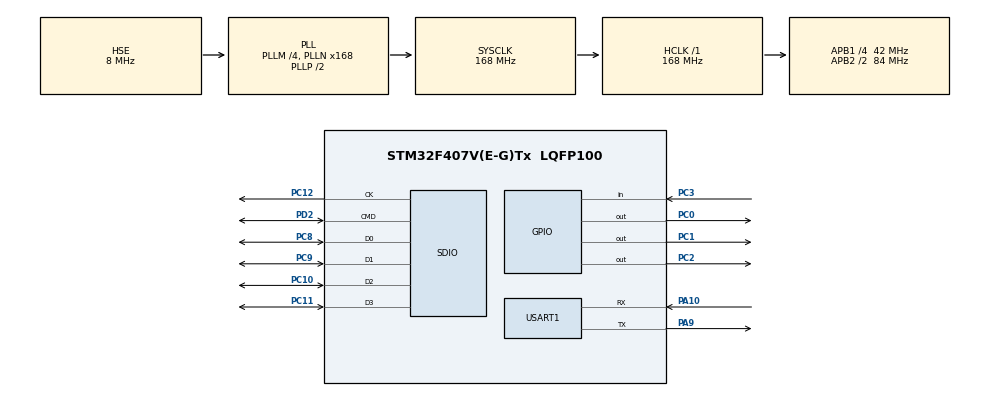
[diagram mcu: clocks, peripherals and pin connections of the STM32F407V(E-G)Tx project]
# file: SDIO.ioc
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Dma.Request0=SDIO
Dma.SDIO.0.Direction=DMA_PERIPH_TO_MEMORY
Dma.SDIO.0.FIFOMode=DMA_FIFOMODE_ENABLE
Dma.SDIO.0.FIFOThreshold=DMA_FIFO_THRESHOLD_FULL
Dma.SDIO.0.Instance=DMA2_Stream3
Dma.SDIO.0.MemBurst=DMA_MBURST_INC4
Dma.SDIO.0.MemDataAlignment=DMA_MDATAALIGN_WORD
Dma.SDIO.0.MemInc=DMA_MINC_ENABLE
Dma.SDIO.0.Mode=DMA_PFCTRL
Dma.SDIO.0.PeriphBurst=DMA_PBURST_INC4
Dma.SDIO.0.PeriphDataAlignment=DMA_PDATAALIGN_WORD
Dma.SDIO.0.PeriphInc=DMA_PINC_DISABLE
Dma.SDIO.0.Priority=DMA_PRIORITY_LOW
Mcu.Family=STM32F4
Mcu.Name=STM32F407V(E-G)Tx
Mcu.Package=LQFP100
NVIC.DMA2_Stream3_IRQn=true\:0\:0\:false\:false\:true\:false\:true\:true
NVIC.PriorityGroup=NVIC_PRIORITYGROUP_4
NVIC.SDIO_IRQn=true\:0\:0\:false\:false\:true\:true\:true\:true
PA10.Mode=Asynchronous
PA10.Signal=USART1_RX
PA9.Mode=Asynchronous
PA9.Signal=USART1_TX
PC0.GPIO_ModeDefaultOutputPP=GPIO_MODE_OUTPUT_PP
PC0.GPIO_PuPd=GPIO_PULLUP
PC0.PinState=GPIO_PIN_SET
PC0.Signal=GPIO_Output
PC1.GPIO_ModeDefaultOutputPP=GPIO_MODE_OUTPUT_PP
PC1.GPIO_PuPd=GPIO_PULLUP
PC1.PinState=GPIO_PIN_SET
PC1.Signal=GPIO_Output
PC10.Mode=SD_4_bits_Wide_bus
PC10.Signal=SDIO_D2
PC11.Mode=SD_4_bits_Wide_bus
PC11.Signal=SDIO_D3
PC12.Mode=SD_4_bits_Wide_bus
PC12.Signal=SDIO_CK
PC14-OSC32_IN.Mode=LSE-External-Oscillator
PC14-OSC32_IN.Signal=RCC_OSC32_IN
PC15-OSC32_OUT.Mode=LSE-External-Oscillator
PC15-OSC32_OUT.Signal=RCC_OSC32_OUT
PC2.GPIO_ModeDefaultOutputPP=GPIO_MODE_OUTPUT_PP
PC2.GPIO_PuPd=GPIO_PULLUP
PC2.PinState=GPIO_PIN_SET
PC2.Signal=GPIO_Output
PC3.GPIO_PuPd=GPIO_PULLUP
PC3.Signal=GPIO_Input
PC8.Mode=SD_4_bits_Wide_bus
PC8.Signal=SDIO_D0
PC9.Mode=SD_4_bits_Wide_bus
PC9.Signal=SDIO_D1
PD2.Mode=SD_4_bits_Wide_bus
PD2.Signal=SDIO_CMD
PH0-OSC_IN.Mode=HSE-External-Oscillator
PH0-OSC_IN.Signal=RCC_OSC_IN
PH1-OSC_OUT.Mode=HSE-External-Oscillator
PH1-OSC_OUT.Signal=RCC_OSC_OUT
ProjectManager.HeapSize=0x200
ProjectManager.StackSize=0x400
ProjectManager.TargetToolchain=MDK-ARM V5
RCC.48MHZClocksFreq_Value=48000000
RCC.AHBFreq_Value=168000000
RCC.APB1CLKDivider=RCC_HCLK_DIV4
RCC.APB1Freq_Value=42000000
RCC.APB1TimFreq_Value=84000000
RCC.APB2CLKDivider=RCC_HCLK_DIV2
RCC.APB2Freq_Value=84000000
RCC.APB2TimFreq_Value=168000000
RCC.CortexFreq_Value=168000000
RCC.HCLKFreq_Value=168000000
RCC.HSE_VALUE=8000000
RCC.HSI_VALUE=16000000
RCC.PLLM=4
RCC.PLLN=168
RCC.PLLQ=7
RCC.PLLSourceVirtual=RCC_PLLSOURCE_HSE
RCC.SYSCLKFreq_VALUE=168000000
RCC.SYSCLKSource=RCC_SYSCLKSOURCE_PLLCLK
RCC.VCOOutputFreq_Value=336000000
SDIO.ClockDiv=6
USART1.VirtualMode=VM_ASYNC
VP_FATFS_VS_SDIO.Mode=SDIO
board=custom

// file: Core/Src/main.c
/* USER CODE BEGIN Header */
/**
  ******************************************************************************
  * @file           : main.c
  * @brief          : Main program body
  ******************************************************************************
  * @attention
  *
  * Copyright (c) 2025 STMicroelectronics.
  * All rights reserved.
  *
  * This software is licensed under terms that can be found in the LICENSE file
  * in the root directory of this software component.
  * If no LICENSE file comes with this software, it is provided AS-IS.
  *
  ******************************************************************************
  */
/* USER CODE END Header */
#include "main.h"
#include "dma.h"
#include "fatfs.h"
#include "sdio.h"
#include "usart.h"
#include "gpio.h"

/* USER CODE BEGIN Includes */
#include "stdio.h"
#include "ebtn.h"

#define LOG_TAG    "MAIN"  // 定义日志标签
#include "elog.h"          // 包含elog头文件
#include "multiTimer.h"
#include "string.h"
#include "ff.h"
/* USER CODE END Includes */

/* USER CODE BEGIN PTD */
MultiTimer mt_led, mt_key;
/* USER CODE END PTD */

/* USER CODE BEGIN PD */
#define MT_KEY_TIME       5   // 按键扫描时间
/* USER CODE END PD */

/* USER CODE BEGIN PM */
typedef enum {
    USER_BUTTON_0 = 0,
    USER_BUTTON_MAX,
} user_button_t;
/* USER CODE END PM */

/* USER CODE BEGIN PV */
uint8_t current_color = 0; // 0=红, 1=绿, 2=蓝

/* 按键参数配置(消抖时间), 连击间隔时间(连击判断), 长按开始时间(长按判断), 长按间隔时间,
   长按保持时间, 长按结束时间, 长按保持间隔时间 */
static const ebtn_btn_param_t defaul_ebtn_param = EBTN_PARAMS_INIT(20, 0, 20, 300, 200, 1000, 5);

FATFS fs;                       /* FatFs 文件系统对象 */
FIL file;                       /* 文件对象 */
FRESULT f_res;                  /* 文件操作结果 */
UINT fnum;                      /* 文件成功读写数量 */
BYTE ReadBuffer[1024] = {0};    /* 读缓冲区 */
BYTE WriteBuffer[] =            /* 写缓冲区 */
    "This is MCU Electronics Technology STM32 working with FatFs\r\n"
    "Board: Mcore_MainBoard V1.0\r\n";

HAL_SD_CardInfoTypeDef SDCardInfo;  /* SD卡信息结构体 */
char sd_info_buffer[100];           /* SD卡信息显示缓冲区 */
const TCHAR *FILE_PATH = "0:/test.txt";  /* 文件路径（注意：使用正斜杠） */

/* USER CODE END PV */

void SystemClock_Config(void);

/* USER CODE BEGIN 0 */
static ebtn_btn_t btns[] = {
    EBTN_BUTTON_INIT(USER_BUTTON_0, &defaul_ebtn_param),
};

uint64_t bsp_timer_tick(void)
{
    return (uint64_t)HAL_GetTick();
}

uint8_t prv_btn_get_state(struct ebtn_btn *btn)
{
    switch(btn->key_id) {
        case USER_BUTTON_0:
            return !HAL_GPIO_ReadPin(GPIOC, GPIO_PIN_3);
        default:
            return 0;
    }
}

void prv_btn_event(struct ebtn_btn *btn, ebtn_evt_t evt)
{
    // 按键K1
    if((btn->key_id == USER_BUTTON_0) && evt == EBTN_EVT_ONCLICK &&(ebtn_click_get_count(btn) == 1)) {
        HAL_GPIO_TogglePin(GPIOC, GPIO_PIN_0);
        elog_i("main", "Btn click");
    }
    else if((btn->key_id == USER_BUTTON_0) && (ebtn_click_get_count(btn) == 2)) {
        HAL_GPIO_TogglePin(GPIOC, GPIO_PIN_1);
        elog_i("main", "Btn Double click");
    }
    else if((btn->key_id == USER_BUTTON_0) && evt == EBTN_EVT_KEEPALIVE) {
        HAL_GPIO_TogglePin(GPIOC, GPIO_PIN_2);
        elog_i("main", "Btn Hold");
    }
}

void app_btn_init(void)
{
    ebtn_init(btns, EBTN_ARRAY_SIZE(btns), NULL, 0, prv_btn_get_state, prv_btn_event);
}

void mt_cb_key(MultiTimer* timer, void* userData)
{
    ebtn_process(HAL_GetTick());
    multiTimerStart(timer, MT_KEY_TIME, mt_cb_key, NULL);
}

/* USER CODE END 0 */

int main(void)
{

  /* USER CODE BEGIN 1 */
  multiTimerInstall(bsp_timer_tick);
  /* USER CODE END 1 */

  /* MCU Configuration--------------------------------------------------------*/

  /* Reset of all peripherals, Initializes the Flash interface and the Systick. */
  HAL_Init();

  /* Configure the system clock */
  SystemClock_Config();

  /* Initialize all configured peripherals */
  MX_GPIO_Init();
  MX_DMA_Init();
  MX_USART1_UART_Init();
  MX_SDIO_SD_Init();
  MX_FATFS_Init();
  /* USER CODE BEGIN 2 */
  elog_init();
  elog_set_text_color_enabled(true);
  elog_set_fmt(ELOG_LVL_ASSERT, ELOG_FMT_ALL);
  elog_set_fmt(ELOG_LVL_ERROR, ELOG_FMT_LVL | ELOG_FMT_TAG);
  elog_set_fmt(ELOG_LVL_WARN, ELOG_FMT_LVL | ELOG_FMT_TAG);
  elog_set_fmt(ELOG_LVL_INFO, ELOG_FMT_LVL | ELOG_FMT_TAG);
  elog_set_fmt(ELOG_LVL_DEBUG, ELOG_FMT_ALL & ~(ELOG_FMT_TIME | ELOG_FMT_P_INFO | ELOG_FMT_T_INFO));
  elog_set_fmt(ELOG_LVL_VERBOSE, ELOG_FMT_ALL);
  elog_start();
  /* USER CODE END 2 */

  /* Infinite loop */
  /* USER CODE BEGIN WHILE */
  app_btn_init();
  multiTimerStart(&mt_key,     MT_KEY_TIME,     mt_cb_key,        NULL);

  log_i("");
  log_i("************************************************");
  log_i("*        MCU Electronics Technology Co.         *");
  log_i("*          Mcore_MainBoard V1.0                *");
  log_i("*     Website: https://gitee.com/Ahypnis        *");
  log_i("************************************************");
  log_i("UART Configuration:");
  log_i("- Baud Rate: 115200");
  log_i("- Data Bits: 8");
  log_i("- Stop Bits: 1");
  log_i("- Parity: None");
  log_i("");

  log_i("=================== SD Card Test ===================");

  // 初始化SD卡
  log_i("Step 1: Initializing SD Card");
  if(HAL_SD_Init(&hsd) != HAL_OK)
  {
      log_e(">> SD Card initialization failed!");
      Error_Handler();
  }

  // 获取并显示SD卡信息
  log_i("");
  log_i("Step 2: Reading SD Card Information");
  if(HAL_SD_GetCardInfo(&hsd, &SDCardInfo) == HAL_OK)
  {
      log_i(">> SD Card Information:");
      log_i("- Card Type: %s",
          SDCardInfo.CardType == CARD_SDSC ? "SDSC Card" :
          SDCardInfo.CardType == CARD_SDHC_SDXC ? "SDHC/SDXC Card" : "Unknown Card");
      log_i("- Card Version: %d", (int)SDCardInfo.CardVersion);
      log_i("- Card Class: %d", (int)SDCardInfo.Class);
      log_i("- Card Capacity: %d MB", (int)(SDCardInfo.BlockNbr / 2048)); // 转换为MB
      log_i("- Block Size: %d Bytes", (int)SDCardInfo.BlockSize);
      log_i("- Block Numbers: %d", (int)SDCardInfo.BlockNbr);

      // 验证卡信息是否有效
      if(SDCardInfo.BlockSize == 0 || SDCardInfo.BlockNbr == 0)
      {
          log_w(">> Warning: Invalid card parameters detected!");
      }
  }
  else
  {
      log_e(">> Failed to get SD card information!");
      Error_Handler();
  }
  log_i("");

  // Start DMA reception
  log_i("=============== FatFs Test Start ================");

  //在外部 SD 卡挂载文件系统，文件系统挂载时会对 SD 卡初始化
  log_i("Step 3: Mounting File System");
  f_res = f_mount(&fs, "0:", 1);

  /*----------------------- 格式化测试 ---------------------------*/
  if(f_res == FR_NO_FILESYSTEM)
  {
      log_w("No file system detected, formatting SD card...");
      /* 格式化 */
      BYTE opt = FM_FAT32 | FM_SFD;  /* FAT32格式 + SFD分区方式 */
      DWORD au = 0;                  /* 自动选择簇大小 */
      BYTE work[512];                /* 工作缓冲区 */

      f_res = f_mkfs("0:", opt, au, work, sizeof(work));
      if(f_res == FR_OK)
      {
          log_i(">> Format successful!");
          /* 格式化后，先取消挂载 */
          f_res = f_mount(NULL, "0:", 1);
          /* 重新挂载 */
          f_res = f_mount(&fs, "0:", 1);
      }
      else
      {
          log_e(">> Format failed! Error code: %d", f_res);
          log_e("Error details: %s",
              f_res == FR_NOT_READY ? "SD card not ready or not present" :
              f_res == FR_DISK_ERR ? "Hard error occurred in low level disk I/O" :
              f_res == FR_WRITE_PROTECTED ? "SD card is write protected" : "Unknown error");
          Error_Handler();
      }
  }
  else if(f_res != FR_OK)
  {
      log_e(">> Mount failed! Error code: %d", f_res);
      log_e("Error details: %s",
          f_res == FR_NOT_READY ? "SD card not ready or not present" :
          f_res == FR_DISK_ERR ? "Hard error occurred in low level disk I/O" :
          f_res == FR_INVALID_DRIVE ? "Invalid drive number" : "Unknown error");
      Error_Handler();
  }
  else
  {
      log_i(">> Mount successful!");

      // 显示可用空间信息
      DWORD fre_clust, fre_sect, tot_sect;
      FATFS *fs_ptr = &fs;
      f_res = f_getfree("0:", &fre_clust, &fs_ptr);
      if(f_res == FR_OK) {
          tot_sect = (fs_ptr->n_fatent - 2) * fs_ptr->csize;
          fre_sect = fre_clust * fs_ptr->csize;
          log_i("SD Card Space Info:");
          log_i("- Total Space: %lu MB", tot_sect / 2048);
          log_i("- Free Space: %lu MB", fre_sect / 2048);
          log_i("- Used Space: %lu MB", (tot_sect - fre_sect) / 2048);
      }
  }
  log_i("");

  /*----------------------- 文件系统测试：写测试 -----------------------------*/
  /* 打开文件，如果文件不存在则创建它 */
  log_i("Step 4: File Write Test");
  log_i("Creating file: %s", FILE_PATH);

  f_res = f_open(&file, FILE_PATH, FA_CREATE_ALWAYS | FA_WRITE);
  if(f_res == FR_OK)
  {
      log_i(">> File created successfully");
      /* 将指定存储区内容写入到文件内 */
      f_res = f_write(&file, WriteBuffer, strlen((char *)WriteBuffer), &fnum);
      if(f_res == FR_OK)
      {
          log_i(">> Write successful! (%d bytes)", fnum);
          log_i("Written content:");
          log_i("%s", WriteBuffer);
      }
      else
      {
          log_e(">> Write failed! Error code: %d", f_res);
          log_e("Error details: %s",
              f_res == FR_DISK_ERR ? "Hard error occurred in low level disk I/O" :
              f_res == FR_INT_ERR ? "Internal error occurred" :
              f_res == FR_DENIED ? "Access denied" : "Unknown error");
      }
      /* 确保数据写入到磁盘 */
      f_sync(&file);
      /* 不再读写，关闭文件 */
      f_close(&file);
  }
  else
  {
      log_e(">> File creation failed! Error code: %d", f_res);
      const char* error_msg =
          f_res == FR_DISK_ERR ? "Hard error occurred in low level disk I/O" :
          f_res == FR_INT_ERR ? "Internal error occurred" :
          f_res == FR_NOT_READY ? "SD card not ready" :
          f_res == FR_NO_FILE ? "Could not find the file" :
          f_res == FR_NO_PATH ? "Could not find the path" :
          f_res == FR_INVALID_NAME ? "Invalid file name" :
          f_res == FR_DENIED ? "Access denied" :
          f_res == FR_EXIST ? "File exists" :
          f_res == FR_WRITE_PROTECTED ? "Write protected" : "Unknown error";
      log_e("Error details: %s", error_msg);
  }
  log_i("");

  /*------------------- 文件系统测试：读测试 ------------------------------------*/
  log_i("Step 5: File Read Test");
  log_i("Opening file: %s", FILE_PATH);

  f_res = f_open(&file, FILE_PATH, FA_OPEN_EXISTING | FA_READ);
  if(f_res == FR_OK)
  {
      log_i(">> File opened successfully");
      f_res = f_read(&file, ReadBuffer, sizeof(ReadBuffer), &fnum);
      if(f_res == FR_OK)
      {
          ReadBuffer[fnum] = '\0';  // 确保字符串正确终止
          log_i(">> Read successful! (%d bytes)", fnum);
          log_i("Read content:");
          log_i("%s", ReadBuffer);
      }
      else
      {
          log_e(">> Read failed! Error code: %d", f_res);
          log_e("Error details: %s",
              f_res == FR_DISK_ERR ? "Hard error occurred in low level disk I/O" :
              f_res == FR_INT_ERR ? "Internal error occurred" :
              f_res == FR_DENIED ? "Access denied" : "Unknown error");
      }
  }
  else
  {
      log_e(">> File open failed! Error code: %d", f_res);
      const char* error_msg =
          f_res == FR_DISK_ERR ? "Hard error occurred in low level disk I/O" :
          f_res == FR_INT_ERR ? "Internal error occurred" :
          f_res == FR_NOT_READY ? "SD card not ready" :
          f_res == FR_NO_FILE ? "Could not find the file" :
          f_res == FR_NO_PATH ? "Could not find the path" :
          f_res == FR_INVALID_NAME ? "Invalid file name" :
          f_res == FR_DENIED ? "Access denied" : "Unknown error";
      log_e("Error details: %s", error_msg);
  }
  /* 不再读写，关闭文件 */
  f_close(&file);
  /* 不再使用文件系统，取消挂载文件系统 */
  f_mount(NULL, "0:", 1);

  log_i("");
  log_i("================ Test Complete ==================");
  log_i("System is ready. Please input any characters...");
  log_i("");

  while (1)
  {
    /* USER CODE END WHILE */

    /* USER CODE BEGIN 3 */
    multiTimerYield();
  }
  /* USER CODE END 3 */
}

void SystemClock_Config(void)
{
  RCC_OscInitTypeDef RCC_OscInitStruct = {0};
  RCC_ClkInitTypeDef RCC_ClkInitStruct = {0};

  /** Configure the main internal regulator output voltage
  */
  __HAL_RCC_PWR_CLK_ENABLE();
  __HAL_PWR_VOLTAGESCALING_CONFIG(PWR_REGULATOR_VOLTAGE_SCALE1);

  /** Initializes the RCC Oscillators according to the specified parameters
  * in the RCC_OscInitTypeDef structure.
  */
  RCC_OscInitStruct.OscillatorType = RCC_OSCILLATORTYPE_HSE;
  RCC_OscInitStruct.HSEState = RCC_HSE_ON;
  RCC_OscInitStruct.PLL.PLLState = RCC_PLL_ON;
  RCC_OscInitStruct.PLL.PLLSource = RCC_PLLSOURCE_HSE;
  RCC_OscInitStruct.PLL.PLLM = 4;
  RCC_OscInitStruct.PLL.PLLN = 168;
  RCC_OscInitStruct.PLL.PLLP = RCC_PLLP_DIV2;
  RCC_OscInitStruct.PLL.PLLQ = 7;
  if (HAL_RCC_OscConfig(&RCC_OscInitStruct) != HAL_OK)
  {
    Error_Handler();
  }

  /** Initializes the CPU, AHB and APB buses clocks
  */
  RCC_ClkInitStruct.ClockType = RCC_CLOCKTYPE_HCLK|RCC_CLOCKTYPE_SYSCLK
                              |RCC_CLOCKTYPE_PCLK1|RCC_CLOCKTYPE_PCLK2;
  RCC_ClkInitStruct.SYSCLKSource = RCC_SYSCLKSOURCE_PLLCLK;
  RCC_ClkInitStruct.AHBCLKDivider = RCC_SYSCLK_DIV1;
  RCC_ClkInitStruct.APB1CLKDivider = RCC_HCLK_DIV4;
  RCC_ClkInitStruct.APB2CLKDivider = RCC_HCLK_DIV2;

  if (HAL_RCC_ClockConfig(&RCC_ClkInitStruct, FLASH_LATENCY_5) != HAL_OK)
  {
    Error_Handler();
  }
}

/* USER CODE BEGIN 4 */
#ifdef __GNUC__
#define PUTCHAR_PROTOTYPE int __io_putchar(int ch)
#else
#define PUTCHAR_PROTOTYPE int fputc(int ch, FILE *f)
#endif

// Redirect printf to UART
PUTCHAR_PROTOTYPE
{
    HAL_UART_Transmit(&huart1, (uint8_t *)&ch, 1, HAL_MAX_DELAY);
    return ch;
}
/* USER CODE END 4 */

void Error_Handler(void)
{
  __disable_irq();
  while (1)
  {
  }
}
